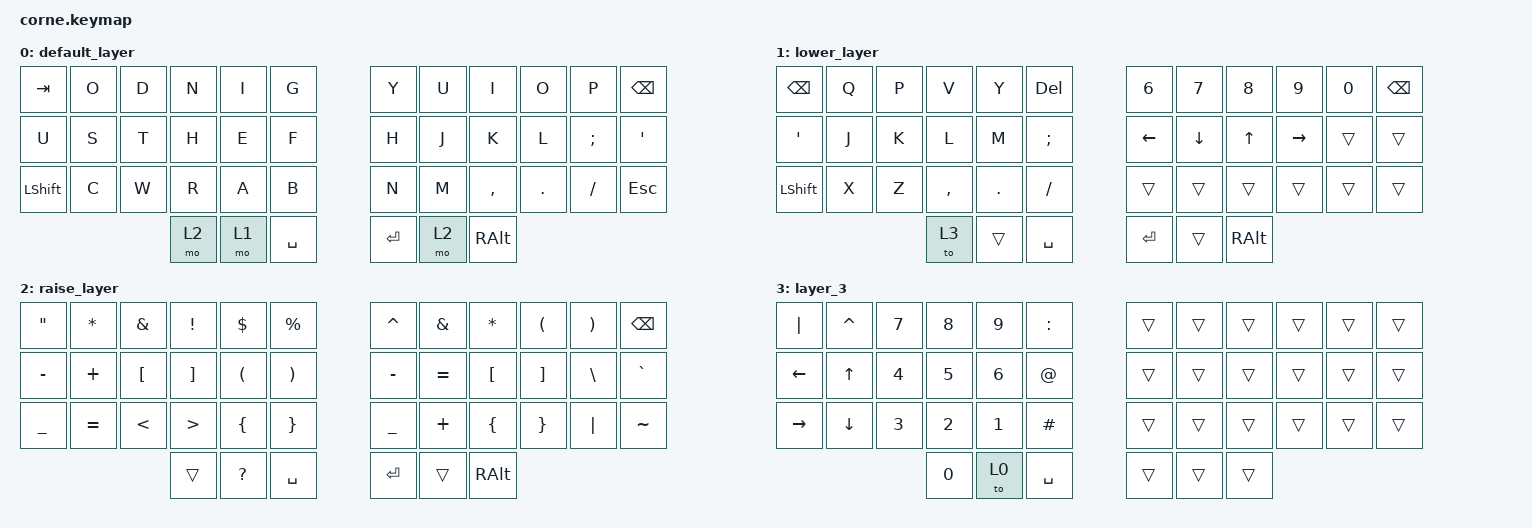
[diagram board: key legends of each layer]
/*
 * Copyright (c) 2020 The ZMK Contributors
 *
 * SPDX-License-Identifier: MIT
 */

#include <behaviors.dtsi>
#include <dt-bindings/zmk/bt.h>
#include <dt-bindings/zmk/keys.h>

/ {
    combos {
        compatible = "zmk,combos";

        return {
            bindings = <&kp ENTER>;
            key-positions = <24 38>;
        };

        bltooth {
            bindings = <&bt BT_CLR>;
            key-positions = <36 38>;
        };

        copy {
            bindings = <&kp LC(C)>;
            key-positions = <24 36>;
        };

        paste {
            bindings = <&kp LC(V)>;
            key-positions = <24 37>;
        };
    };

    keymap {
        compatible = "zmk,keymap";

        default_layer {
            // -----------------------------------------------------------------------------------------
            // |  TAB |  Q  |  W  |  E  |  R  |  T  |   |  Y  |  U   |  I  |  O  |  P  | BKSP |
            // | CTRL |  A  |  S  |  D  |  F  |  G  |   |  H  |  J   |  K  |  L  |  ;  |  '   |
            // | SHFT |  Z  |  X  |  C  |  V  |  B  |   |  N  |  M   |  ,  |  .  |  /  | ESC  |
            //                    | GUI | LWR | SPC |   | ENT | RSE  | ALT |

            bindings = <
&kp TAB    &kp O  &kp D  &kp N  &kp I  &kp G        &kp Y    &kp U  &kp I      &kp O    &kp P     &kp BSPC
&kp U      &kp S  &kp T  &kp H  &kp E  &kp F        &kp H    &kp J  &kp K      &kp L    &kp SEMI  &kp SQT
&kp LSHFT  &kp C  &kp W  &kp R  &kp A  &kp B        &kp N    &kp M  &kp COMMA  &kp DOT  &kp FSLH  &kp ESC
                         &mo 2  &mo 1  &kp SPACE    &kp RET  &mo 2  &kp RALT
            >;
        };

        lower_layer {
            // -----------------------------------------------------------------------------------------
            // |  TAB |  1  |  2  |  3  |  4  |  5  |   |  6  |  7  |  8  |  9  |  0  | BKSP |
            // | BTCLR| BT1 | BT2 | BT3 | BT4 | BT5 |   | LFT | DWN |  UP | RGT |     |      |
            // | SHFT |     |     |     |     |     |   |     |     |     |     |     |      |
            //                    | GUI |     | SPC |   | ENT |     | ALT |

            bindings = <
&kp BACKSPACE   &kp Q  &kp P  &kp V      &kp Y       &kp DEL          &kp N6    &kp N7    &kp N8    &kp N9     &kp N0  &kp BSPC
&kp SQT         &kp J  &kp K  &kp L      &kp M       &kp SEMICOLON    &kp LEFT  &kp DOWN  &kp UP    &kp RIGHT  &trans  &trans
&kp LEFT_SHIFT  &kp X  &kp Z  &kp COMMA  &kp PERIOD  &kp SLASH        &trans    &trans    &trans    &trans     &trans  &trans
                              &to 3      &trans      &kp SPACE        &kp RET   &trans    &kp RALT
            >;
        };

        raise_layer {
            // -----------------------------------------------------------------------------------------
            // |  TAB |  !  |  @  |  #  |  $  |  %  |   |  ^  |  &  |  *  |  (  |  )  | BKSP |
            // | CTRL |     |     |     |     |     |   |  -  |  =  |  [  |  ]  |  \  |  `   |
            // | SHFT |     |     |     |     |     |   |  _  |  +  |  {  |  }  | "|" |  ~   |
            //                    | GUI |     | SPC |   | ENT |     | ALT |

            bindings = <
&kp DOUBLE_QUOTES  &kp ASTERISK  &kp AMPERSAND     &kp EXCLAMATION    &kp DLLR              &kp PRCNT                &kp CARET  &kp AMPS   &kp ASTRK  &kp LPAR  &kp RPAR  &kp BSPC
&kp MINUS          &kp PLUS      &kp LEFT_BRACKET  &kp RIGHT_BRACKET  &kp LEFT_PARENTHESIS  &kp RIGHT_PARENTHESIS    &kp MINUS  &kp EQUAL  &kp LBKT   &kp RBKT  &kp BSLH  &kp GRAVE
&kp UNDER          &kp EQUAL     &kp LESS_THAN     &kp GREATER_THAN   &kp LEFT_BRACE        &kp RIGHT_BRACE          &kp UNDER  &kp PLUS   &kp LBRC   &kp RBRC  &kp PIPE  &kp TILDE
                                                   &trans             &kp QUESTION          &kp SPACE                &kp RET    &trans     &kp RALT
            >;
        };

        layer_3 {
            bindings = <
&kp PIPE        &kp CARET     &kp N7        &kp N8        &kp N9        &kp COLON      &trans  &trans  &trans  &trans  &trans  &trans
&kp LEFT_ARROW  &kp UP_ARROW  &kp NUMBER_4  &kp N5        &kp NUMBER_6  &kp AT_SIGN    &trans  &trans  &trans  &trans  &trans  &trans
&kp RIGHT       &kp DOWN      &kp NUMBER_3  &kp NUMBER_2  &kp NUMBER_1  &kp HASH       &trans  &trans  &trans  &trans  &trans  &trans
                                            &kp N0        &to 0         &kp SPACE      &trans  &trans  &trans
            >;
        };
    };
};
